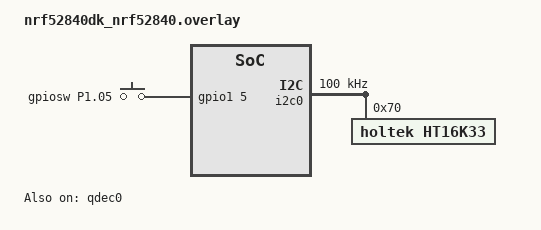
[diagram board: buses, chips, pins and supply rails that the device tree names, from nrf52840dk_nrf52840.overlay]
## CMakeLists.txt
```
cmake_minimum_required(VERSION 3.20.0)
find_package(Zephyr REQUIRED HINTS $ENV{ZEPHYR_BASE})

project(rotaryencoder_example)

FILE(GLOB app_sources src/*.c)
target_sources(app PRIVATE ${app_sources})
```

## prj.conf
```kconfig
CONFIG_SENSOR=y
CONFIG_PRINTK=y

CONFIG_GPIO=y

CONFIG_LOG=y
CONFIG_I2C=y
CONFIG_LED=y
CONFIG_KSCAN=y
CONFIG_KSCAN_INIT_PRIORITY=95
CONFIG_HT16K33_KEYSCAN=y
```

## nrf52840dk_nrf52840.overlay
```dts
// To get started, press Ctrl+Space to bring up the completion menu and view the available nodes.

// You can also use the buttons in the sidebar to perform actions on nodes.
// Actions currently available include:

// * Enabling / disabling the node
// * Adding the bus to a bus
// * Removing the node
// * Connecting ADC channels

// For more help, browse the DeviceTree documentation at https://docs.zephyrproject.org/latest/guides/dts/index.html
// You can also visit the nRF DeviceTree extension documentation at https://nrfconnect.github.io/vscode-nrf-connect/devicetree/nrfdevicetree.html

/*
 * Copyright 2023 Nordic Semiconductor ASA
 * SPDX-License-Identifier: Apache-2.0
 */

/ {
	aliases {
		qdec0 = &qdec0;
		gpio-sw = &gpiosw;
	};

	gpiocustom{
		status = "okay";
		compatible = "gpio-keys";
		gpiosw: gpiosw {
			gpios = <&gpio1 5 (GPIO_PULL_UP)>;
			label = "gpiosw P1.05";
		};
	};
};

&pinctrl {
	qdec_pinctrl: qdec_pinctrl {
		group1 {
			psels = <NRF_PSEL(QDEC_A, 1, 4)>,   /* Arduino D3 */
				<NRF_PSEL(QDEC_B, 1, 3)>;   /* Arduino D2 */
		};
	};
};

&qdec0 {
	status = "okay";
	pinctrl-0 = <&qdec_pinctrl>;
	pinctrl-names = "default";
	steps = < 20 >;
	led-pre = < 500 >;
};

&i2c0 {
	clock-frequency = <I2C_BITRATE_STANDARD>;

	ht16k33@70 {
		compatible = "holtek,ht16k33";
		reg = <0x70>;
                /* Uncomment to use IRQ instead of polling: */
		/* irq-gpios = <&gpio1 8 (GPIO_PULL_UP | GPIO_ACTIVE_LOW)>; */

		keyscan {
			compatible = "holtek,ht16k33-keyscan";
		};
	};
};
```

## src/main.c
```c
/*
 * Copyright (c) 2022 Valerio Setti <valerio.setti@gmail.com>
 *
 * SPDX-License-Identifier: Apache-2.0
 */

#include <zephyr/kernel.h>
#include <zephyr/device.h>
#include <zephyr/drivers/sensor.h>
#include <zephyr/sys/printk.h>
#include <zephyr/drivers/gpio.h>

#include "led.h"

#if !DT_NODE_EXISTS(DT_ALIAS(qdec0))
#error "Unsupported board: qdec0 devicetree alias is not defined"
#endif

#define SW_NODE DT_NODELABEL(gpiosw)
#if !DT_NODE_HAS_STATUS(SW_NODE, okay)
#error "Unsupported board: gpiosw devicetree alias is not defined or enabled"
#endif
static const struct gpio_dt_spec sw = GPIO_DT_SPEC_GET(SW_NODE, gpios);

static bool sw_led_flag = false;
static int rotary_idx = 0;

static struct gpio_callback sw_cb_data;

void sw_callback(const struct device *dev, struct gpio_callback *cb, uint32_t pins)
{
	printk("SW pressed\n");
	sw_led_flag = !sw_led_flag;
}

void display_rotary_led(int32_t rotary_val)
{
	if(rotary_val > 0){
		rotary_idx++;
	} else if(rotary_val < 0){
		rotary_idx--;
	}

	if(rotary_idx < 0){
		rotary_idx = MAX_ROTARY_IDX -1;
	} else if (rotary_idx > MAX_ROTARY_IDX -1) {
		rotary_idx = 0;
	}

	led_on_idx(rotary_idx);
}

int main(void)
{
	struct sensor_value val;
	int rc;
	const struct device *const dev = DEVICE_DT_GET(DT_ALIAS(qdec0));

	if (!device_is_ready(dev)) {
		printk("Qdec device is not ready\n");
		return 0;
	}

	if(!gpio_is_ready_dt(&sw)) {
		printk("SW GPIO is not ready\n");
		return 0;
	}

	int err = gpio_pin_configure_dt(&sw, GPIO_INPUT);
	if(err < 0){
		printk("Error configuring SW GPIO pin %d\n", err);
		return 0;
	}

	err = gpio_pin_interrupt_configure_dt(&sw, GPIO_INT_EDGE_RISING);
	if(err != 0){
		printk("Error configuring SW GPIO interrupt %d\n", err);
		return 0;
	}

	gpio_init_callback(&sw_cb_data, sw_callback, BIT(sw.pin));
	gpio_add_callback(sw.port, &sw_cb_data);

	printk("Quadrature decoder sensor test\n");

	led_on_idx(rotary_idx);

	while (true) {
		rc = sensor_sample_fetch(dev);
		if (rc != 0) {
			printk("Failed to fetch sample (%d)\n", rc);
			return 0;
		}

		rc = sensor_channel_get(dev, SENSOR_CHAN_ROTATION, &val);
		if (rc != 0) {
			printk("Failed to get data (%d)\n", rc);
			return 0;
		}

		// int sw_val = gpio_pin_get_dt(&sw);

		if(!sw_led_flag){
			display_rotary_led(val.val1);
		} else{
			led_off_all();
		}

		printk("Position = %d degrees \n", val.val1);

		k_msleep(100);
	}
	return 0;
}
```

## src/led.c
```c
#include "led.h"

int led_matrix_array [MAX_ROTARY_IDX+1][MAX_LED_NUM+1]= {
 {
    0, 0, 0, 0, 0, 0, 0, 0, 0, 0, 0, 0, 0, 0, 0, 0,
    0, 0, 0, 0, 0, 0, 0, 0, 0, 0, 0, 0, 0, 0, 0, 0,
    0, 0, 0, 0, 0, 0, 0, 0, 0, 0, 0, 0, 0, 0, 0, 0,
    1, 1, 1, 1, 1, 1, 1, 1, 0, 0, 0, 0, 0, 0, 0, 0,
    0, 0, 0, 0, 0, 0, 0, 0, 1, 1, 1, 1, 1, 1, 1, 1,
    0, 0, 0, 0, 0, 0, 0, 0, 0, 0, 0, 0, 0, 0, 0, 0,
    0, 0, 0, 0, 0, 0, 0, 0, 0, 0, 0, 0, 0, 0, 0, 0,
    0, 0, 0, 0, 0, 0, 0, 0, 0, 0, 0, 0, 0, 0, 0, 0
 },
 {
    0, 0, 0, 0, 0, 0, 0, 0, 0, 0, 0, 0, 0, 0, 0, 0,
    0, 0, 0, 0, 0, 0, 0, 0, 0, 0, 0, 0, 0, 0, 0, 0,
    1, 1, 1, 0, 0, 0, 0, 0, 0, 0, 0, 0, 0, 0, 0, 0,
    0, 0, 0, 1, 1, 1, 1, 1, 0, 0, 0, 0, 0, 0, 0, 0,
    0, 0, 0, 0, 0, 0, 0, 0, 1, 1, 1, 1, 1, 0, 0, 0,
    0, 0, 0, 0, 0, 0, 0, 0, 0, 0, 0, 0, 0, 1, 1, 1,
    0, 0, 0, 0, 0, 0, 0, 0, 0, 0, 0, 0, 0, 0, 0, 0,
    0, 0, 0, 0, 0, 0, 0, 0, 0, 0, 0, 0, 0, 0, 0, 0
 },
 {
    0, 0, 0, 0, 0, 0, 0, 0, 0, 0, 0, 0, 0, 0, 0, 0,
    1, 1, 0, 0, 0, 0, 0, 0, 0, 0, 0, 0, 0, 0, 0, 0,
    0, 0, 1, 1, 1, 0, 0, 0, 0, 0, 0, 0, 0, 0, 0, 0,
    0, 0, 0, 0, 0, 1, 1, 1, 0, 0, 0, 0, 0, 0, 0, 0,
    0, 0, 0, 0, 0, 0, 0, 0, 1, 1, 1, 0, 0, 0, 0, 0,
    0, 0, 0, 0, 0, 0, 0, 0, 0, 0, 0, 1, 1, 1, 0, 0,
    0, 0, 0, 0, 0, 0, 0, 0, 0, 0, 0, 0, 0, 0, 1, 1,
    0, 0, 0, 0, 0, 0, 0, 0, 0, 0, 0, 0, 0, 0, 0, 0
 },
 {
    1, 1, 0, 0, 0, 0, 0, 0, 0, 0, 0, 0, 0, 0, 0, 0,
    0, 0, 1, 1, 0, 0, 0, 0, 0, 0, 0, 0, 0, 0, 0, 0,
    0, 0, 0, 0, 1, 1, 0, 0, 0, 0, 0, 0, 0, 0, 0, 0,
    0, 0, 0, 0, 0, 0, 1, 1, 0, 0, 0, 0, 0, 0, 0, 0,
    0, 0, 0, 0, 0, 0, 0, 0, 1, 1, 0, 0, 0, 0, 0, 0,
    0, 0, 0, 0, 0, 0, 0, 0, 0, 0, 1, 1, 0, 0, 0, 0,
    0, 0, 0, 0, 0, 0, 0, 0, 0, 0, 0, 0, 1, 1, 0, 0,
    0, 0, 0, 0, 0, 0, 0, 0, 0, 0, 0, 0, 0, 0, 1, 1
 },
 {
    0, 0, 1, 0, 0, 0, 0, 0, 0, 0, 0, 0, 0, 0, 0, 0,
    0, 0, 0, 1, 1, 0, 0, 0, 0, 0, 0, 0, 0, 0, 0, 0,
    0, 0, 0, 0, 0, 1, 0, 0, 0, 0, 0, 0, 0, 0, 0, 0,
    0, 0, 0, 0, 0, 0, 1, 1, 0, 0, 0, 0, 0, 0, 0, 0,
    0, 0, 0, 0, 0, 0, 0, 0, 1, 1, 0, 0, 0, 0, 0, 0,
    0, 0, 0, 0, 0, 0, 0, 0, 0, 1, 1, 0, 0, 0, 0, 0,
    0, 0, 0, 0, 0, 0, 0, 0, 0, 0, 0, 1, 1, 0, 0, 0,
    0, 0, 0, 0, 0, 0, 0, 0, 0, 0, 0, 0, 0, 1, 0, 0
 },
 {
    0, 0, 0, 0, 1, 0, 0, 0, 0, 0, 0, 0, 0, 0, 0, 0,
    0, 0, 0, 0, 0, 1, 0, 0, 0, 0, 0, 0, 0, 0, 0, 0,
    0, 0, 0, 0, 0, 0, 1, 0, 0, 0, 0, 0, 0, 0, 0, 0,
    0, 0, 0, 0, 0, 0, 0, 1, 0, 0, 0, 0, 0, 0, 0, 0,
    0, 0, 0, 0, 0, 0, 0, 0, 1, 0, 0, 0, 0, 0, 0, 0,
    0, 0, 0, 0, 0, 0, 0, 0, 0, 1, 0, 0, 0, 0, 0, 0,
    0, 0, 0, 0, 0, 0, 0, 0, 0, 0, 1, 0, 0, 0, 0, 0,
    0, 0, 0, 0, 0, 0, 0, 0, 0, 0, 0, 1, 0, 0, 0, 0,
 },
 {
    0, 0, 0, 0, 0, 0, 1, 0, 0, 0, 0, 0, 0, 0, 0, 0,
    0, 0, 0, 0, 0, 0, 1, 0, 0, 0, 0, 0, 0, 0, 0, 0,
    0, 0, 0, 0, 0, 0, 0, 1, 0, 0, 0, 0, 0, 0, 0, 0,
    0, 0, 0, 0, 0, 0, 0, 1, 0, 0, 0, 0, 0, 0, 0, 0,
    0, 0, 0, 0, 0, 0, 0, 0, 1, 0, 0, 0, 0, 0, 0, 0,
    0, 0, 0, 0, 0, 0, 0, 0, 1, 0, 0, 0, 0, 0, 0, 0,
    0, 0, 0, 0, 0, 0, 0, 0, 0, 1, 0, 0, 0, 0, 0, 0,
    0, 0, 0, 0, 0, 0, 0, 0, 0, 1, 0, 0, 0, 0, 0, 0
 },
 {
    0, 0, 0, 0, 0, 0, 0, 1, 0, 0, 0, 0, 0, 0, 0, 0,
    0, 0, 0, 0, 0, 0, 0, 1, 0, 0, 0, 0, 0, 0, 0, 0,
    0, 0, 0, 0, 0, 0, 0, 1, 0, 0, 0, 0, 0, 0, 0, 0,
    0, 0, 0, 0, 0, 0, 0, 1, 0, 0, 0, 0, 0, 0, 0, 0,
    0, 0, 0, 0, 0, 0, 0, 0, 1, 0, 0, 0, 0, 0, 0, 0,
    0, 0, 0, 0, 0, 0, 0, 0, 1, 0, 0, 0, 0, 0, 0, 0,
    0, 0, 0, 0, 0, 0, 0, 0, 1, 0, 0, 0, 0, 0, 0, 0,
    0, 0, 0, 0, 0, 0, 0, 0, 1, 0, 0, 0, 0, 0, 0, 0
 },
 {
    0, 0, 0, 0, 0, 0, 0, 0, 1, 0, 0, 0, 0, 0, 0, 0,
    0, 0, 0, 0, 0, 0, 0, 0, 1, 0, 0, 0, 0, 0, 0, 0,
    0, 0, 0, 0, 0, 0, 0, 0, 1, 0, 0, 0, 0, 0, 0, 0,
    0, 0, 0, 0, 0, 0, 0, 0, 1, 0, 0, 0, 0, 0, 0, 0,
    0, 0, 0, 0, 0, 0, 0, 1, 0, 0, 0, 0, 0, 0, 0, 0,
    0, 0, 0, 0, 0, 0, 0, 1, 0, 0, 0, 0, 0, 0, 0, 0,
    0, 0, 0, 0, 0, 0, 0, 1, 0, 0, 0, 0, 0, 0, 0, 0,
    0, 0, 0, 0, 0, 0, 0, 1, 0, 0, 0, 0, 0, 0, 0, 0
 },
 {
    0, 0, 0, 0, 0, 0, 0, 0, 0, 0, 0, 1, 0, 0, 0, 0,
    0, 0, 0, 0, 0, 0, 0, 0, 0, 0, 1, 0, 0, 0, 0, 0,
    0, 0, 0, 0, 0, 0, 0, 0, 0, 1, 0, 0, 0, 0, 0, 0,
    0, 0, 0, 0, 0, 0, 0, 0, 1, 0, 0, 0, 0, 0, 0, 0,
    0, 0, 0, 0, 0, 0, 0, 1, 0, 0, 0, 0, 0, 0, 0, 0,
    0, 0, 0, 0, 0, 0, 1, 0, 0, 0, 0, 0, 0, 0, 0, 0,
    0, 0, 0, 0, 0, 1, 0, 0, 0, 0, 0, 0, 0, 0, 0, 0,
    0, 0, 0, 0, 1, 0, 0, 0, 0, 0, 0, 0, 0, 0, 0, 0
 },
 {
    0, 0, 0, 0, 0, 0, 0, 0, 0, 0, 0, 0, 0, 1, 0, 0,
    0, 0, 0, 0, 0, 0, 0, 0, 0, 0, 0, 1, 1, 0, 0, 0,
    0, 0, 0, 0, 0, 0, 0, 0, 0, 0, 1, 0, 0, 0, 0, 0,
    0, 0, 0, 0, 0, 0, 0, 0, 1, 1, 0, 0, 0, 0, 0, 0,
    0, 0, 0, 0, 0, 0, 1, 1, 0, 0, 0, 0, 0, 0, 0, 0,
    0, 0, 0, 0, 0, 1, 1, 0, 0, 0, 0, 0, 0, 0, 0, 0,
    0, 0, 0, 1, 1, 0, 0, 0, 0, 0, 0, 0, 0, 0, 0, 0,
    0, 0, 1, 0, 0, 0, 0, 0, 0, 0, 0, 0, 0, 0, 0, 0
 },
 {
    0, 0, 0, 0, 0, 0, 0, 0, 0, 0, 0, 0, 0, 0, 1, 1,
    0, 0, 0, 0, 0, 0, 0, 0, 0, 0, 0, 0, 1, 1, 0, 0,
    0, 0, 0, 0, 0, 0, 0, 0, 0, 0, 1, 1, 0, 0, 0, 0,
    0, 0, 0, 0, 0, 0, 0, 0, 1, 1, 0, 0, 0, 0, 0, 0,
    0, 0, 0, 0, 0, 0, 1, 1, 0, 0, 0, 0, 0, 0, 0, 0,
    0, 0, 0, 0, 1, 1, 0, 0, 0, 0, 0, 0, 0, 0, 0, 0,
    0, 0, 1, 1, 0, 0, 0, 0, 0, 0, 0, 0, 0, 0, 0, 0,
    1, 1, 0, 0, 0, 0, 0, 0, 0, 0, 0, 0, 0, 0, 0, 0
 },
 {
    0, 0, 0, 0, 0, 0, 0, 0, 0, 0, 0, 0, 0, 0, 0, 0,
    0, 0, 0, 0, 0, 0, 0, 0, 0, 0, 0, 0, 0, 0, 1, 1,
    0, 0, 0, 0, 0, 0, 0, 0, 0, 0, 0, 1, 1, 1, 0, 0,
    0, 0, 0, 0, 0, 0, 0, 0, 1, 1, 1, 0, 0, 0, 0, 0,
    0, 0, 0, 0, 0, 1, 1, 1, 0, 0, 0, 0, 0, 0, 0, 0,
    0, 0, 1, 1, 1, 0, 0, 0, 0, 0, 0, 0, 0, 0, 0, 0,
    1, 1, 0, 0, 0, 0, 0, 0, 0, 0, 0, 0, 0, 0, 0, 0,
    0, 0, 0, 0, 0, 0, 0, 0, 0, 0, 0, 0, 0, 0, 0, 0
 },
 {
    0, 0, 0, 0, 0, 0, 0, 0, 0, 0, 0, 0, 0, 0, 0, 0,
    0, 0, 0, 0, 0, 0, 0, 0, 0, 0, 0, 0, 0, 0, 0, 0,
    0, 0, 0, 0, 0, 0, 0, 0, 0, 0, 0, 0, 0, 1, 1, 1,
    0, 0, 0, 0, 0, 0, 0, 0, 1, 1, 1, 1, 1, 0, 0, 0,
    0, 0, 0, 1, 1, 1, 1, 1, 0, 0, 0, 0, 0, 0, 0, 0,
    1, 1, 1, 0, 0, 0, 0, 0, 0, 0, 0, 0, 0, 0, 0, 0,
    0, 0, 0, 0, 0, 0, 0, 0, 0, 0, 0, 0, 0, 0, 0, 0,
    0, 0, 0, 0, 0, 0, 0, 0, 0, 0, 0, 0, 0, 0, 0, 0
 },
 {
    0, 0, 0, 0, 0, 0, 0, 0, 0, 0, 0, 0, 0, 0, 0, 0,
    0, 0, 0, 0, 0, 0, 0, 0, 0, 0, 0, 0, 0, 0, 0, 0,
    0, 0, 0, 0, 0, 0, 0, 0, 0, 0, 0, 0, 0, 0, 0, 0,
    0, 0, 0, 0, 0, 0, 0, 0, 1, 1, 1, 1, 1, 1, 1, 1,
    1, 1, 1, 1, 1, 1, 1, 1, 0, 0, 0, 0, 0, 0, 0, 0,
    0, 0, 0, 0, 0, 0, 0, 0, 0, 0, 0, 0, 0, 0, 0, 0,
    0, 0, 0, 0, 0, 0, 0, 0, 0, 0, 0, 0, 0, 0, 0, 0,
    0, 0, 0, 0, 0, 0, 0, 0, 0, 0, 0, 0, 0, 0, 0, 0
 }
};

int led_init(void)
{
    if(!device_is_ready(led)){
        printk("LED device %s is not ready\n", led->name);
    }

    return 0;
}

void led_off_all(void)
{
    for(int i = 0; i< MAX_LED_NUM; i++){
        led_off(led, i);
    }
}

void led_on_idx(int idx)
{
   //  led_off_all();
    for(int i = 0; i < MAX_LED_NUM; i++){
        if(led_matrix_array[idx][i] == 1){
            led_on(led, i);
        } else {
            led_off(led, i);
        }
    }
}
```

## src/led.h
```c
#include <zephyr/drivers/led.h>
#include <zephyr/drivers/kscan.h>
#include <zephyr/devicetree.h>
#include <zephyr/kernel.h>

#define LED_NODE DT_COMPAT_GET_ANY_STATUS_OKAY(holtek_ht16k33)
#define KEY_NODE DT_CHILD(LED_NODE, keyscan)

#define MAX_LED_NUM 128
#define MAX_ROTARY_IDX 15

static const struct device *const led = DEVICE_DT_GET(LED_NODE);

int led_init(void);

void led_off_all(void);
void led_on_idx(int idx);

// [0]
// * * * * * * * * * * * * * * * *  0 ~ 15
// * * * * * * * * * * * * * * * * 16 ~ 31
// * * * * * * * * * * * * * * * * 32 ~ 47
// x x x x x x x x * * * * * * * * 48 ~ 63 (48 ~ 55)
// * * * * * * * * x x x x x x x x 64 ~ 79 (72 ~ 79)
// * * * * * * * * * * * * * * * * 80 ~ 95
// * * * * * * * * * * * * * * * * 96 ~ 111
// * * * * * * * * * * * * * * * * 112 ~ 127

// [1]
// * * * * * * * * * * * * * * * *  0 ~ 15
// * * * * * * * * * * * * * * * * 16 ~ 31
// x x x * * * * * * * * * * * * * 32 ~ 47 (32 ~ 34)
// * * * x x x x x * * * * * * * * 48 ~ 63 (51 ~ 55)
// * * * * * * * * x x x x x * * * 64 ~ 79 (72 ~ 76)
// * * * * * * * * * * * * * x x x 80 ~ 95 (93 ~ 95)
// * * * * * * * * * * * * * * * * 96 ~ 111
// * * * * * * * * * * * * * * * * 112 ~ 127

// [2]
// * * * * * * * * * * * * * * * *  0 ~ 15
// x x * * * * * * * * * * * * * * 16 ~ 31 (16 ~ 17)
// * * x x x * * * * * * * * * * * 32 ~ 47 (34 ~ 36)
// * * * * * x x x * * * * * * * * 48 ~ 63 (53 ~ 55)
// * * * * * * * * x x x * * * * * 64 ~ 79 (72 ~ 74)
// * * * * * * * * * * * x x x * * 80 ~ 95 (91 ~ 93)
// * * * * * * * * * * * * * * x x 96 ~ 111 (110 ~ 111)
// * * * * * * * * * * * * * * * * 112 ~ 127

// [3]
// x x * * * * * * * * * * * * * *  0 ~ 15 (0 ~ 1)
// * * x x * * * * * * * * * * * * 16 ~ 31 (18 ~ 19)
// * * * * x x * * * * * * * * * * 32 ~ 47 (36 ~ 37)
// * * * * * * x x * * * * * * * * 48 ~ 63 (54 ~ 55)
// * * * * * * * * x x * * * * * * 64 ~ 79 (72 ~ 73)
// * * * * * * * * * * x x * * * * 80 ~ 95 (90 ~ 91)
// * * * * * * * * * * * * x x * * 96 ~ 111 (108 ~ 109)
// * * * * * * * * * * * * * * x x 112 ~ 127 (126 ~ 127)

// [4]
// * * x * * * * * * * * * * * * *  0 ~ 15 (2)
// * * * x x * * * * * * * * * * * 16 ~ 31 (19 ~ 20)
// * * * * * x * * * * * * * * * * 32 ~ 47 (37)
// * * * * * * x x * * * * * * * * 48 ~ 63 (54 ~ 55)
// * * * * * * * * x x * * * * * * 64 ~ 79 (72 ~ 73)
// * * * * * * * * * x x * * * * * 80 ~ 95 (89 ~ 90)
// * * * * * * * * * * * x x * * * 96 ~ 111 (107 ~ 108)
// * * * * * * * * * * * * * x * * 112 ~ 127 (125)

// [5]
// * * * * x * * * * * * * * * * *  0 ~ 15 (4)
// * * * * * x * * * * * * * * * * 16 ~ 31 (21)
// * * * * * * x * * * * * * * * * 32 ~ 47 (38)
// * * * * * * * x * * * * * * * * 48 ~ 63 (55)
// * * * * * * * * x * * * * * * * 64 ~ 79 (72)
// * * * * * * * * * x * * * * * * 80 ~ 95 (89)
// * * * * * * * * * * x * * * * * 96 ~ 111 (106)
// * * * * * * * * * * * x * * * * 112 ~ 127 (123)

// [6]
// * * * * * * x * * * * * * * * *  0 ~ 15 (6)
// * * * * * * x * * * * * * * * * 16 ~ 31 (22)
// * * * * * * * x * * * * * * * * 32 ~ 47 (39)
// * * * * * * * x * * * * * * * * 48 ~ 63 (55)
// * * * * * * * * x * * * * * * * 64 ~ 79 (72)
// * * * * * * * * x * * * * * * * 80 ~ 95 (88)
// * * * * * * * * * x * * * * * * 96 ~ 111 (105)
// * * * * * * * * * x * * * * * * 112 ~ 127 (121)

// [7]
// * * * * * * * x * * * * * * * *  0 ~ 15 (7)
// * * * * * * * x * * * * * * * * 16 ~ 31 (23)
// * * * * * * * x * * * * * * * * 32 ~ 47 (39)
// * * * * * * * x * * * * * * * * 48 ~ 63 (55)
// * * * * * * * * x * * * * * * * 64 ~ 79 (72)
// * * * * * * * * x * * * * * * * 80 ~ 95 (88)
// * * * * * * * * x * * * * * * * 96 ~ 111 (104)
// * * * * * * * * x * * * * * * * 112 ~ 127 (120)

// [8]
// * * * * * * * * * x * * * * * *  0 ~ 15 (9)
// * * * * * * * * * x * * * * * * 16 ~ 31 (25)
// * * * * * * * * x * * * * * * * 32 ~ 47 (40)
// * * * * * * * * x * * * * * * * 48 ~ 63 (56)
// * * * * * * * x * * * * * * * * 64 ~ 79 (71)
// * * * * * * * x * * * * * * * * 80 ~ 95 (87)
// * * * * * * x * * * * * * * * * 96 ~ 111 (102)
// * * * * * * x * * * * * * * * * 112 ~ 127 (118)

// [9]
// * * * * * * * * * * * x * * * *  0 ~ 15 (11)
// * * * * * * * * * * x * * * * * 16 ~ 31 (25)
// * * * * * * * * * x * * * * * * 32 ~ 47 (41)
// * * * * * * * * x * * * * * * * 48 ~ 63 (56)
// * * * * * * * x * * * * * * * * 64 ~ 79 (71)
// * * * * * * x * * * * * * * * * 80 ~ 95 (86)
// * * * * * x * * * * * * * * * * 96 ~ 111 (101)
// * * * * x * * * * * * * * * * * 112 ~ 127 (116)

// [10]
// * * * * * * * * * * * * * x * *  0 ~ 15
// * * * * * * * * * * * x x * * * 16 ~ 31
// * * * * * * * * * * x * * * * * 32 ~ 47
// * * * * * * * * x x * * * * * * 48 ~ 63 (48 ~ 55)
// * * * * * * x x * * * * * * * * 64 ~ 79 (72 ~ 79)
// * * * * * x x * * * * * * * * * 80 ~ 95
// * * * x x * * * * * * * * * * * 96 ~ 111
// * * x * * * * * * * * * * * * * 112 ~ 127

// [11]
// * * * * * * * * * * * * * * x x  0 ~ 15 (14 ~ 15)
// * * * * * * * * * * * * x x * * 16 ~ 31 (28 ~ 29)
// * * * * * * * * * * x x * * * * 32 ~ 47 (42 ~ 43)
// * * * * * * * * x x * * * * * * 48 ~ 63 (56 ~ 57)
// * * * * * * x x * * * * * * * * 64 ~ 79 (70 ~ 71)
// * * * * x x * * * * * * * * * * 80 ~ 95 (84 ~ 85)
// * * x x * * * * * * * * * * * * 96 ~ 111 (98 ~ 99)
// x x * * * * * * * * * * * * * * 112 ~ 127 (112 ~ 113)

// [12]
// * * * * * * * * * * * * * * * *  0 ~ 15 (14 ~ 15)
// * * * * * * * * * * * * * * x x 16 ~ 31 (30 ~ 31)
// * * * * * * * * * * * x x x * * 32 ~ 47 (43 ~ 45)
// * * * * * * * * x x x * * * * * 48 ~ 63 (56 ~ 58)
// * * * * * x x x * * * * * * * * 64 ~ 79 (69 ~ 71)
// * * x x x * * * * * * * * * * * 80 ~ 95 (82 ~ 84)
// x x * * * * * * * * * * * * * * 96 ~ 111 (96 ~ 97)
// * * * * * * * * * * * * * * * * 112 ~ 127

// [13]
// * * * * * * * * * * * * * * * *  0 ~ 15
// * * * * * * * * * * * * * * * * 16 ~ 31
// * * * * * * * * * * * * * x x x 32 ~ 47 (45 ~ 47)
// * * * * * * * * x x x x x * * * 48 ~ 63 (56 ~ 60)
// * * * x x x x x * * * * * * * * 64 ~ 79 (67 ~ 71)
// x x x * * * * * * * * * * * * * 80 ~ 95 (80 ~ 82)
// * * * * * * * * * * * * * * * * 96 ~ 111
// * * * * * * * * * * * * * * * * 112 ~ 127

// [14]
// * * * * * * * * * * * * * * * *  0 ~ 15
// * * * * * * * * * * * * * * * * 16 ~ 31
// * * * * * * * * * * * * * * * * 32 ~ 47
// * * * * * * * * x x x x x x x x 48 ~ 63 (56 ~ 63)
// x x x x x x x x * * * * * * * * 64 ~ 79 (64 ~ 71)
// * * * * * * * * * * * * * * * * 80 ~ 95
// * * * * * * * * * * * * * * * * 96 ~ 111
// * * * * * * * * * * * * * * * * 112 ~ 127
```
